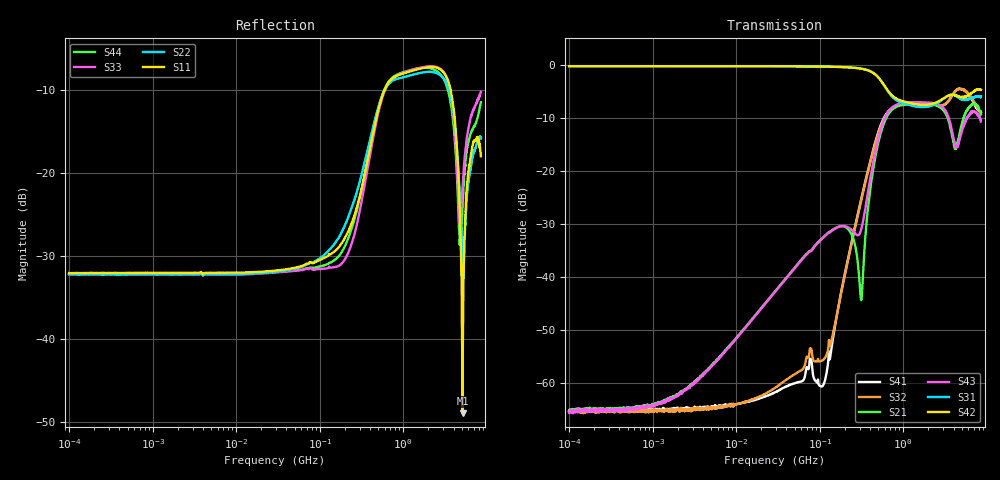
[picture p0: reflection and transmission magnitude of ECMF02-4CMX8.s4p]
!ECMF02-4CMX8
!Typical device
!26/10/11  08:58
!E5071BSP.exe
!Probes on PCB
!Port 1: IN1
!Port 2: IN2
!Port 3: OUT1
!Port 4: OUT2
!P1 Probe Type :ACP40-SSG-400; Probe S/N : DF28G
!P2 Probe Type :ACP40-SSG-400; Probe S/N : DF28G
!P3 Probe Type :ACP40-GSS-400; Probe S/N : DF28D
!P4 Probe Type :ACP40-GSS-400; Probe S/N : DF28D
! Instrument Manufacturer: Agilent Technologies
! Instrument Model: E5071C
! Instrument Serial Number: MY46109436
! Instrument Firmware Rev: A.09.54
!Start Freq. :100.000kHz; Stop Freq. : 8.500GHz
!Number of points : 1601; Sweep : LOGARITHMIC
!Ports power : 0.000000dBm; IFBW : 100.000000Hz
!Calibration kit : 129-248 (9069)
!Prober : PM8 (Manual prober)
!Darkness measurement :YES
!Voltage measurement :NO
!Temperature measurement :NO
!I-O
! Freq ReS11 ImS11 ReS12 ImS12 ReS13 ImS13 ReS14 ImS14
!  ReS21 ImS21 ReS22 ImS22 ReS23 ImS23 ReS24 ImS24
!  ReS31 ImS31 ReS32 ImS32 ReS33 ImS33 ReS34 ImS34
!  ReS41 ImS41 ReS42 ImS42 ReS43 ImS43 ReS44 ImS44
# Hz  S  RI  R  50
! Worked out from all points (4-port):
!   1601 points, 100 kHz to 8.5 GHz, reference 50 ohm
!   strongest paths, dB at 100 kHz, 1.723 MHz, 29.51 MHz, 502.8 MHz, 8.5 GHz:
!     S42: -0.2, -0.2, -0.2, -2.3, -4.7
!     S31: -0.2, -0.2, -0.2, -2.3, -6.0
!     S43: -65.7, -63.0, -42.8, -13.8, -10.7
!     S21: -65.4, -62.6, -42.6, -14.7, -9.3
!     S32: -65.3, -65.1, -60.9, -13.0, -9.0
!     S41: -65.5, -65.1, -61.8, -12.7, -8.9
!   lowest |S11| = -48.9 dB at 5.124 GHz (marker M1), VSWR 1.01, Z = 50.3 - j0.174 ohm
!   |S11| at or under -10 dB: start of sweep to 594.6 MHz; 3.695 GHz to end of sweep
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100000  0.0251 -2.33e-05  0.000544 0.000147  0.9754 -0.000409  -0.000528 -8.39e-05
        0.00052 0.000134  0.0246 2.96e-05  -0.00051 -0.000111  0.9752 -0.000261
        0.975 -0.000414  -0.000534 -9.87e-05  0.0245 1.81e-05  0.000531 0.00013
        -0.000523 -0.000107  0.9754 -0.000377  0.000508 0.000118  0.0248 6.47e-05
1.096097e8  0.0286 -0.011  0.00861 0.022  0.9259 -0.2822  -0.000797 0.000198
            0.00868 0.022  0.0231 -0.0218  -0.0015 0.000729  0.9261 -0.2793
            0.9251 -0.2826  -0.00147 0.000716  0.0242 -0.0109  0.00617 0.0224
            -0.000935 0.000114  0.9264 -0.2795  0.00617 0.0225  0.0227 -0.0161
3.140816e8  -0.0262 -0.0745  -0.00205 0.00629  0.5983 -0.7074  -0.0462 -0.0269
            -0.00221 0.00559  -0.0514 -0.0812  -0.0494 -0.0201  0.6043 -0.6983
            0.5968 -0.7073  -0.0485 -0.02  -0.0441 -0.0492  -0.0137 0.024
            -0.047 -0.0271  0.604 -0.6986  -0.0148 0.0239  -0.0529 -0.0572
5.720318e8  -0.2648 0.1434  -0.1559 0.2109  -0.0273 -0.6668  -0.218 0.2055
            -0.1566 0.2155  -0.2653 0.1459  -0.1999 0.2198  -0.00481 -0.6703
            -0.0303 -0.6654  -0.2013 0.2151  -0.2174 0.1975  -0.1254 0.2527
            -0.2182 0.2115  -0.00391 -0.6688  -0.1239 0.2574  -0.2349 0.1918
3.3744e9  0.2882 -0.2346  0.3132 -0.0873  -0.1467 0.4891  0.4358 -0.0957
          0.3065 -0.0889  0.2455 -0.2364  0.4389 -0.0874  -0.1268 0.4897
          -0.1465 0.4863  0.4394 -0.091  0.3131 -0.1859  0.3361 -0.0937
          0.4345 -0.0905  -0.1259 0.4915  0.3275 -0.0916  0.2741 -0.1771
5.124253e9  0.00313 -0.00173  0.2507 0.1149  0.3377 0.3277  0.303 -0.5165
            0.2589 0.1419  0.0182 -0.0248  0.2815 -0.524  0.3688 0.3191
            0.3402 0.3275  0.2906 -0.517  0.0668 0.0462  0.2092 0.0871
            0.2824 -0.5184  0.3743 0.3257  0.2177 0.1216  0.0468 0.042
8.5e9  0.1182 0.0452  0.2547 -0.1661  0.4716 -0.2447  -0.355 -0.2056
       0.2645 -0.2156  0.1442 -0.0738  -0.2695 -0.1532  0.4483 -0.4107
       0.4415 -0.2426  -0.2901 -0.2046  0.2701 0.1521  0.3055 0.0254
       -0.2862 -0.2172  0.4189 -0.4073  0.2925 -0.00996  0.2056 0.1722
